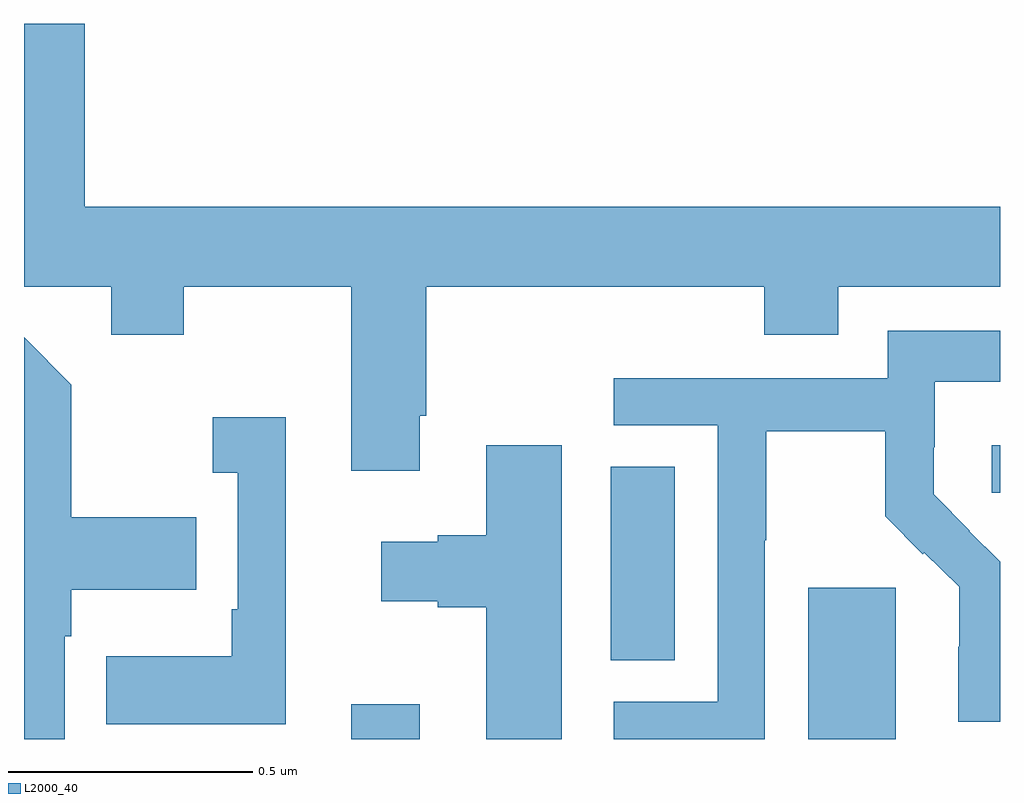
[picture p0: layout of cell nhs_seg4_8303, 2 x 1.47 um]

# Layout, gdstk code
import gdstk
lib = gdstk.Library(unit=1e-6, precision=1e-09)
def R(c, l, rs):  # rectangles x0, y0, x1, y1
    for r in rs: c.add(gdstk.rectangle(r[:2], r[2:], *l))
def P(c, l, *ps):  # polygons
    for p in ps: c.add(gdstk.Polygon(p, *l))
L2000_40 = (2000, 40)

nhs_seg4_8303 = lib.new_cell('nhs_seg4_8303')
R(nhs_seg4_8303, L2000_40, [(213.671,787.9,213.811,787.972), (214.607,787.9,214.786,788.211), (214.202,788.062,214.333,788.459), (214.983,788.406,215,788.503)])
P(nhs_seg4_8303, L2000_40, [(213.811,788.563),(213.824,788.563),(213.824,788.828),(214.517,788.828),(214.517,788.729),(214.669,788.729),(214.669,788.828),(215,788.828),(215,788.992),(213.124,788.992),(213.124,789.367),(213,789.367),(213,788.828),(213.179,788.828),(213.179,788.729),(213.327,788.729),(213.327,788.828),(213.671,788.828),(213.671,788.451),(213.811,788.451)],
  [(214.518,788.308),(214.521,788.308),(214.521,788.532),(214.765,788.532),(214.765,788.357),(214.842,788.28),(214.845,788.283),(214.916,788.213),(214.916,788.09),(214.914,788.09),(214.914,787.936),(215,787.936),(215,788.264),(214.937,788.327),(214.938,788.328),(214.864,788.402),(214.864,788.499),(214.866,788.499),(214.866,788.633),(215,788.633),(215,788.737),(214.77,788.737),(214.77,788.64),(214.209,788.64),(214.209,788.544),(214.422,788.544),(214.422,787.977),(214.209,787.977),(214.209,787.9),(214.518,787.9)],
  [(213.084,788.111),(213.097,788.111),(213.097,788.207),(213.353,788.207),(213.353,788.355),(213.097,788.355),(213.097,788.627),(213,788.724),(213,787.9),(213.084,787.9)],
  [(213.536,788.56),(213.387,788.56),(213.387,788.447),(213.438,788.447),(213.438,788.167),(213.426,788.167),(213.426,788.071),(213.169,788.071),(213.169,787.931),(213.536,787.931)],
  [(214.102,788.503),(213.947,788.503),(213.947,788.318),(213.848,788.318),(213.848,788.305),(213.732,788.305),(213.732,788.183),(213.848,788.183),(213.848,788.171),(213.947,788.171),(213.947,787.9),(214.102,787.9)])

lib.write_gds('nhs_seg4_8303.gds')
